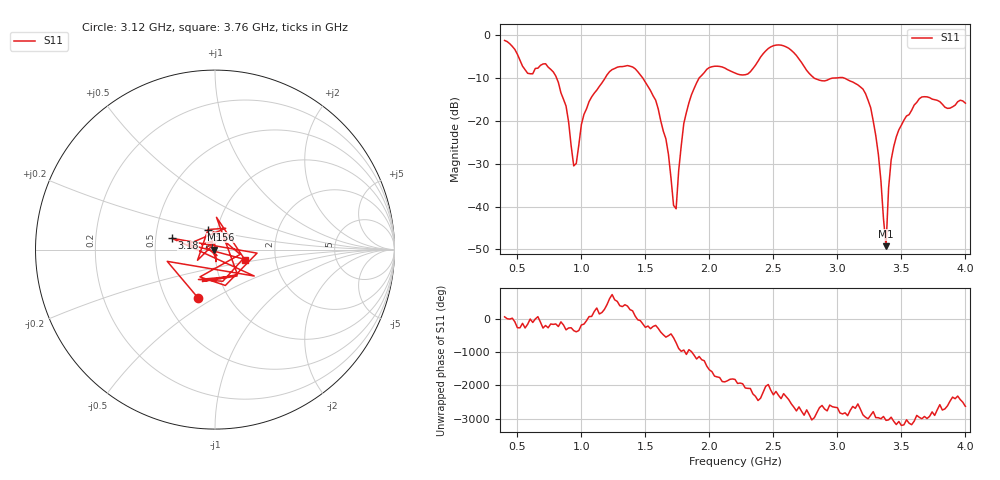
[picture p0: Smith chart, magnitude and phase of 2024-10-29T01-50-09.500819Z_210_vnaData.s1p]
!Created with skrf (http://scikit-rf.org).
# Hz S RI R 50.0
!freq ReS11 ImS11
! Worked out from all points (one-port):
!   181 points, 400 MHz to 4 GHz, reference 50 ohm
!   lowest |S11| = -49.3 dB at 3.38 GHz (marker M1), VSWR 1.01, Z = 49.7 - j0.0757 ohm
!   |S11| at or under -10 dB: 806.5 MHz to 1.185 GHz (378.2 MHz wide, 38 % of centre); 1.48 GHz to 1.919 GHz (439 MHz wide, 25.8 % of centre); 3.054 GHz to end of sweep (the widest 3 of 4)
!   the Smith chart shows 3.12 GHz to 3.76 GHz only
!   S11 on the Smith chart (normalised r, x): 3.12 GHz: 0.72, -0.42; 3.18 GHz: 0.61, +0.08; 3.56 GHz: 0.90, +0.20; 3.76 GHz: 1.39, -0.17
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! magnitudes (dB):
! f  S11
! 400 MHz  -1.2
! 580 MHz  -8.9
! 720 MHz  -6.6
! 860 MHz  -14.9
! 940 MHz  -30.5
! 1.06 GHz  -15.5
! 1.3 GHz  -7.3
! 1.58 GHz  -15.1
! 1.66 GHz  -24.2
! 1.72 GHz  -39.7
! 1.74 GHz  -40.5
! 1.76 GHz  -31.6
! 1.8 GHz  -20.6
! 1.92 GHz  -10.0
! 2.2 GHz  -8.8
! 2.5 GHz  -2.4
! 2.66 GHz  -4.1
! 2.82 GHz  -10.0
! 3.1 GHz  -10.7
! 3.12 GHz  -10.9
! 3.18 GHz  -12.1
! 3.3 GHz  -23.5
! 3.38 GHz  -49.3
! 3.4 GHz  -35.7
! 3.42 GHz  -29.1
! 3.56 GHz  -18.5
! 3.76 GHz  -15.0
! 4 GHz  -15.9
